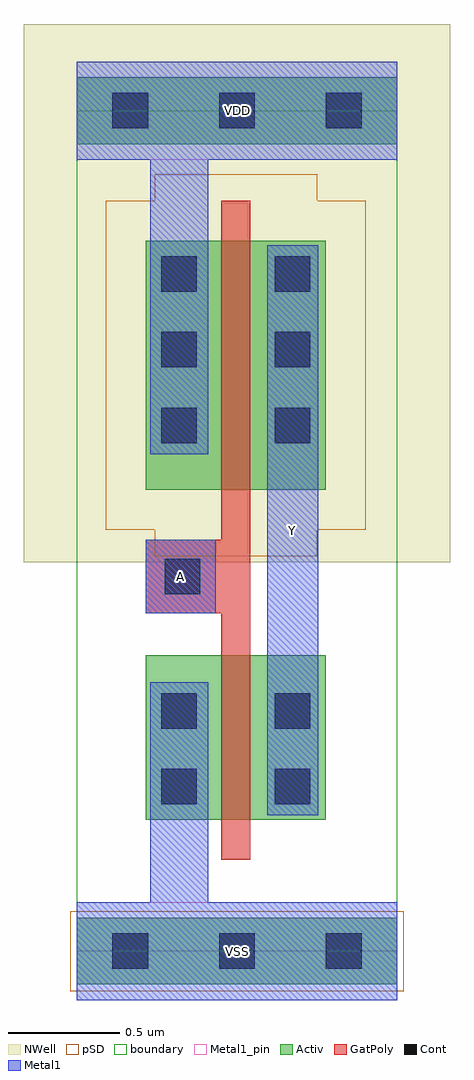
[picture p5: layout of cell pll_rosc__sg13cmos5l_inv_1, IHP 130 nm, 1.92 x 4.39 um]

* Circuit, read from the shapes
.subckt pll_rosc__sg13cmos5l_inv_1 A VDD VSS Y
XM1 Y A VSS VSS sg13_lv_nmos w=0.74u l=0.13u
XM2 Y A VDD VDD sg13_lv_pmos w=1.12u l=0.13u
.ends

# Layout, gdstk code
import gdstk
lib = gdstk.Library(unit=1e-6, precision=1e-09)
def R(c, l, rs):  # rectangles x0, y0, x1, y1
    for r in rs: c.add(gdstk.rectangle(r[:2], r[2:], *l))
def A(c, l, x, y, w, h, nx, ny, dx, dy):  # array of equal rectangles
    R(c, l, [(x+i*dx, y+j*dy, x+i*dx+w, y+j*dy+h) for i in range(nx) for j in range(ny)])
Activ = (1, 0)
GatPoly = (5, 0)
Cont = (6, 0)
Metal1 = (8, 0)
Metal1_pin = (8, 2)
pSD = (14, 0)
NWell = (31, 0)
boundary = (189, 4)

pll_rosc__sg13cmos5l_inv = lib.new_cell('pll_rosc__sg13cmos5l_inv_1')
R(pll_rosc__sg13cmos5l_inv, Activ, [(0,-0.15,1.44,0.15), (0.31,0.59,1.12,1.33), (0.31,2.075,1.12,3.195), (0,3.63,1.44,3.93)])
R(pll_rosc__sg13cmos5l_inv, GatPoly, [(0.65,0.41,0.78,1.52), (0.31,1.52,0.78,1.85), (0.65,1.85,0.78,3.375)])
A(pll_rosc__sg13cmos5l_inv, Cont, 0.16, -0.08, 0.16, 0.16, 3, 2, 0.48, 3.78)
A(pll_rosc__sg13cmos5l_inv, Cont, 0.38, 2.285, 0.16, 0.16, 1, 3, 0, 0.34)
A(pll_rosc__sg13cmos5l_inv, Cont, 0.89, 2.285, 0.16, 0.16, 1, 3, 0, 0.34)
R(pll_rosc__sg13cmos5l_inv, Cont, [(0.38,0.66,0.54,0.82), (0.89,0.66,1.05,0.82), (0.38,1,0.54,1.16), (0.89,1,1.05,1.16), (0.395,1.605,0.555,1.765)])
R(pll_rosc__sg13cmos5l_inv, Metal1, [(0,-0.22,1.44,0.22), (0.33,0.22,0.59,1.21), (0.855,0.61,1.085,3.175), (0.31,1.52,0.625,1.85), (0.33,2.235,0.59,3.56), (0,3.56,1.44,4)])
R(pll_rosc__sg13cmos5l_inv, Metal1_pin, [(0,-0.22,1.44,0.22), (0.855,0.61,1.085,3.175), (0.31,1.52,0.625,1.85), (0,3.56,1.44,4)])
R(pll_rosc__sg13cmos5l_inv, pSD, [(-0.03,-0.18,1.47,0.18), (0.35,1.775,1.08,1.895), (0.13,1.895,1.3,3.375), (0.35,3.375,1.08,3.495)])
R(pll_rosc__sg13cmos5l_inv, NWell, [(-0.24,1.75,1.68,4.17)])
R(pll_rosc__sg13cmos5l_inv, boundary, [(0,0,1.44,3.78)])
pll_rosc__sg13cmos5l_inv.add(gdstk.Label('Y', (0.97,1.892), layer=8, texttype=25))
pll_rosc__sg13cmos5l_inv.add(gdstk.Label('A', (0.467,1.685), layer=8, texttype=25))
pll_rosc__sg13cmos5l_inv.add(gdstk.Label('VSS', (0.72,0), layer=8, texttype=25))
pll_rosc__sg13cmos5l_inv.add(gdstk.Label('VDD', (0.72,3.78), layer=8, texttype=25))

lib.write_gds('pll_rosc__sg13cmos5l_inv_1.gds')
